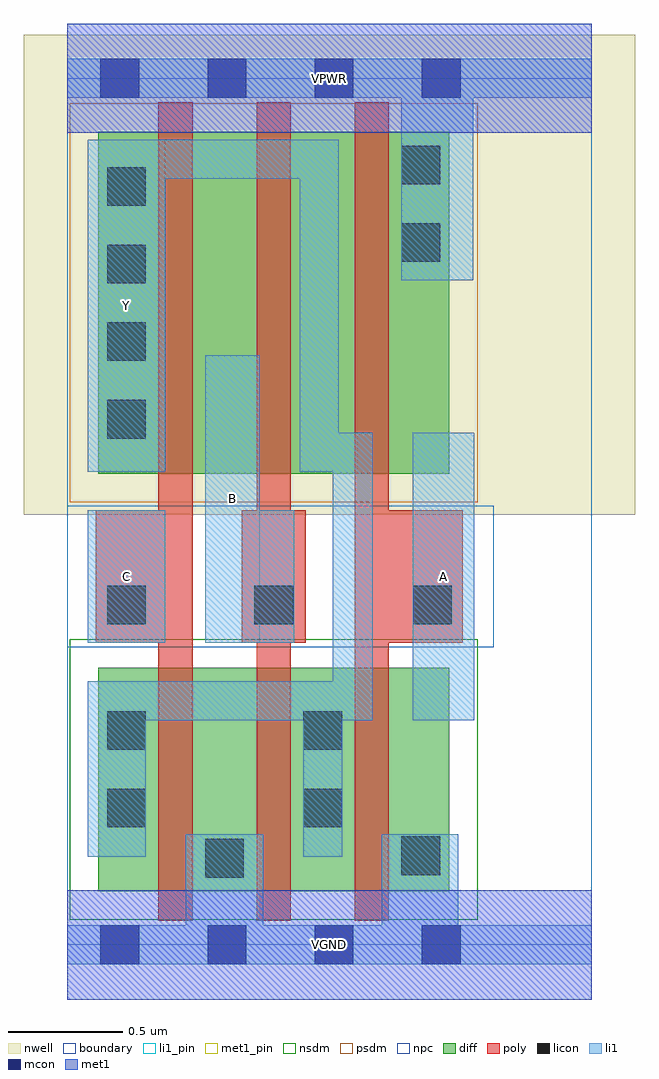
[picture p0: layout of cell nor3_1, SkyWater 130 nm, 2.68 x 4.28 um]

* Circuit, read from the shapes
.subckt nor3_1 A B C VGND VPWR Y
XM1 VGND C Y VSUBS sky130_fd_pr__nfet_01v8 w=0.98 l=0.15
XM2 Y B VGND VSUBS sky130_fd_pr__nfet_01v8 w=0.98 l=0.15
XM3 VGND A Y VSUBS sky130_fd_pr__nfet_01v8 w=0.98 l=0.15
XM4 n1 C Y n2 sky130_fd_pr__pfet_01v8 w=1.5 l=0.15
XM5 n3 B n1 n2 sky130_fd_pr__pfet_01v8 w=1.5 l=0.15
XM6 VPWR A n3 n2 sky130_fd_pr__pfet_01v8 w=1.5 l=0.15
.ends

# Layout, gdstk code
import gdstk
lib = gdstk.Library(unit=1e-6, precision=1e-09)
def R(c, l, rs):  # rectangles x0, y0, x1, y1
    for r in rs: c.add(gdstk.rectangle(r[:2], r[2:], *l))
def A(c, l, x, y, w, h, nx, ny, dx, dy):  # array of equal rectangles
    R(c, l, [(x+i*dx, y+j*dy, x+i*dx+w, y+j*dy+h) for i in range(nx) for j in range(ny)])
nwell = (64, 20)
diff = (65, 20)
poly = (66, 20)
licon = (66, 44)
li1_pin = (67, 16)
li1 = (67, 20)
mcon = (67, 44)
met1_pin = (68, 16)
met1 = (68, 20)
nsdm = (93, 44)
psdm = (94, 20)
npc = (95, 20)
boundary = (235, 4)

nor3_1 = lib.new_cell('nor3_1')
R(nor3_1, nwell, [(-0.19,1.885,2.49,3.99), (0,1.885,2.3,3.99)])
R(nor3_1, diff, [(0.135,0.235,1.675,1.215), (0.135,2.065,1.675,3.565)])
A(nor3_1, poly, 0.4, 0.105, 0.15, 3.59, 3, 1, 0.43, 0)
R(nor3_1, poly, [(0.125,1.325,0.55,1.905), (0.765,1.325,1.045,1.905), (1.26,1.325,1.735,1.905)])
A(nor3_1, licon, 0.175, 2.22, 0.17, 0.17, 1, 4, 0, 0.34)
R(nor3_1, licon, [(0.605,0.295,0.775,0.465), (1.465,0.305,1.635,0.475), (0.175,0.515,0.345,0.685), (1.035,0.515,1.205,0.685), (0.175,0.855,0.345,1.025), (1.035,0.855,1.205,1.025), (0.175,1.405,0.345,1.575), (0.82,1.405,0.99,1.575), (1.515,1.405,1.685,1.575), (1.465,2.995,1.635,3.165), (1.465,3.335,1.635,3.505)])
R(nor3_1, li1_pin, [(1.515,0.985,1.785,2.245), (0.09,1.325,0.43,1.905), (0.605,1.325,0.845,2.585), (0.09,2.075,0.43,3.53)])
R(nor3_1, li1, [(0,-0.085,2.3,0.085), (0.52,-0.085,0.86,0.485), (1.38,-0.085,1.715,0.485), (0.09,0.385,0.345,1.155), (1.035,0.385,1.205,1.155), (0.09,0.985,1.34,1.155), (1.165,0.985,1.34,2.245), (1.515,0.985,1.785,2.245), (0.09,1.325,0.43,1.905), (0.605,1.325,0.845,2.585), (0.605,1.325,0.995,1.905), (0.09,2.075,0.43,3.53), (1.02,2.075,1.19,3.53), (1.465,2.915,1.78,3.885), (0.09,3.36,1.19,3.53), (0,3.715,2.3,3.885)])
A(nor3_1, mcon, 0.145, -0.085, 0.17, 0.17, 4, 2, 0.47, 3.8)
R(nor3_1, met1_pin, [(0,-0.24,2.3,0.24), (0,3.56,2.3,4.04)])
R(nor3_1, met1, [(0,-0.24,2.3,0.24), (0,3.56,2.3,4.04)])
R(nor3_1, nsdm, [(0.01,0.11,1.8,1.34)])
R(nor3_1, psdm, [(0.01,1.94,1.8,3.69)])
R(nor3_1, npc, [(0,1.305,1.87,1.925)])
R(nor3_1, boundary, [(0,0,2.3,3.8)])
nor3_1.add(gdstk.Label('A', (1.65,1.615), layer=67, texttype=5))
nor3_1.add(gdstk.Label('B', (0.725,1.955), layer=67, texttype=5))
nor3_1.add(gdstk.Label('C', (0.26,1.615), layer=67, texttype=5))
nor3_1.add(gdstk.Label('Y', (0.26,2.802), layer=67, texttype=5))
nor3_1.add(gdstk.Label('VPWR', (1.15,3.8), layer=68, texttype=5))
nor3_1.add(gdstk.Label('VGND', (1.15,0), layer=68, texttype=5))
nor3_1.add(gdstk.Label('A', (1.65,1.615), layer=67, texttype=16))
nor3_1.add(gdstk.Label('B', (0.725,1.955), layer=67, texttype=16))
nor3_1.add(gdstk.Label('C', (0.26,1.615), layer=67, texttype=16))
nor3_1.add(gdstk.Label('Y', (0.26,2.802), layer=67, texttype=16))
nor3_1.add(gdstk.Label('VPWR', (1.15,3.8), layer=68, texttype=16))
nor3_1.add(gdstk.Label('VGND', (1.15,0), layer=68, texttype=16))

lib.write_gds('nor3_1.gds')
